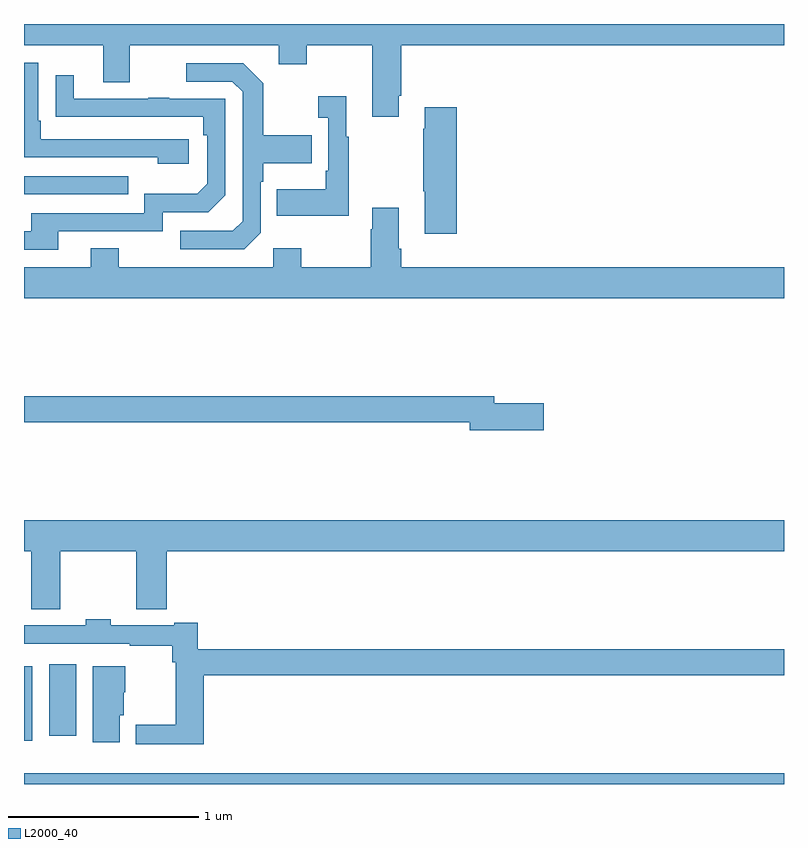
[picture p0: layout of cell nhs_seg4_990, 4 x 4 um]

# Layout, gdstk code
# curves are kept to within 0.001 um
import gdstk
lib = gdstk.Library(unit=1e-6, precision=1e-09)
def R(c, l, rs):  # rectangles x0, y0, x1, y1
    for r in rs: c.add(gdstk.rectangle(r[:2], r[2:], *l))
def P(c, l, *ps):  # polygons
    for p in ps: c.add(gdstk.Polygon(p, *l))
L2000_40 = (2000, 40)

nhs_seg4_990 = lib.new_cell('nhs_seg4_990')
R(nhs_seg4_990, L2000_40, [(161,824.9,165,824.956), (161,825.128,161.044,825.52), (161.132,825.153,161.275,825.529), (161,828.003,161.549,828.099)])
P(nhs_seg4_990, L2000_40, [(161,828.788),(161.417,828.788),(161.417,828.594),(161.557,828.594),(161.557,828.788),(162.341,828.788),(162.341,828.689),(162.489,828.689),(162.489,828.788),(162.833,828.788),(162.833,828.411),(162.973,828.411),(162.973,828.523),(162.986,828.523),(162.986,828.788),(165,828.788),(165,828.9),(161,828.9)],
  [(161.866,828.294),(161.089,828.294),(161.089,828.391),(161.076,828.391),(161.076,828.696),(161,828.696),(161,828.198),(161.705,828.198),(161.705,828.164),(161.866,828.164)],
  [(162.246,827.802),(162.246,828.071),(162.259,828.071),(162.259,828.167),(162.515,828.167),(162.515,828.315),(162.259,828.315),(162.259,828.587),(162.153,828.693),(161.853,828.693),(161.853,828.597),(162.096,828.597),(162.15,828.543),(162.15,827.862),(162.099,827.811),(161.823,827.811),(161.823,827.715),(162.159,827.715)],
  [(161.179,827.808),(161.73,827.808),(161.73,827.91),(161.97,827.91),(162.06,828),(162.06,828.507),(161.765,828.507),(161.765,828.512),(161.653,828.512),(161.653,828.507),(161.263,828.507),(161.263,828.631),(161.167,828.631),(161.167,828.412),(161.944,828.411),(161.944,828.314),(161.964,828.314),(161.964,828.06),(161.911,828.007),(161.634,828.007),(161.634,827.904),(161.039,827.904),(161.039,827.808),(161,827.808),(161,827.712),(161.179,827.712)],
  [(162.709,828.307),(162.697,828.307),(162.697,828.52),(162.549,828.52),(162.549,828.407),(162.6,828.407),(162.6,828.127),(162.588,828.127),(162.588,828.031),(162.331,828.031),(162.331,827.891),(162.709,827.891)],
  [(163.277,828.463),(163.109,828.463),(163.109,828.35),(163.102,828.35),(163.102,828.019),(163.109,828.019),(163.109,827.796),(163.277,827.796)],
  [(165,827.62),(162.986,827.62),(162.986,827.716),(162.973,827.716),(162.973,827.932),(162.833,827.932),(162.833,827.819),(162.826,827.819),(162.826,827.62),(162.459,827.62),(162.459,827.719),(162.312,827.719),(162.312,827.62),(161.499,827.62),(161.499,827.719),(161.351,827.719),(161.351,827.62),(161,827.62),(161,827.456),(165,827.456)],
  [(163.735,826.904),(163.474,826.904),(163.474,826.94),(161,826.94),(161,826.804),(163.346,826.804),(163.346,826.762),(163.735,826.762)],
  [(161.192,826.124),(161.59,826.124),(161.59,825.82),(161.75,825.82),(161.75,826.124),(165,826.124),(165,826.288),(161,826.288),(161,826.124),(161.038,826.124),(161.038,825.82),(161.192,825.82)],
  [(161.945,825.472),(165,825.472),(165,825.608),(161.915,825.608),(161.915,825.748),(161.792,825.748),(161.792,825.735),(161.457,825.735),(161.457,825.768),(161.325,825.768),(161.325,825.735),(161,825.735),(161,825.639),(161.557,825.639),(161.557,825.627),(161.779,825.627),(161.779,825.542),(161.798,825.542),(161.798,825.212),(161.589,825.212),(161.589,825.11),(161.945,825.11)],
  [(161.503,825.261),(161.524,825.261),(161.524,825.384),(161.533,825.384),(161.533,825.52),(161.363,825.52),(161.363,825.12),(161.503,825.12)])

lib.write_gds('nhs_seg4_990.gds')
